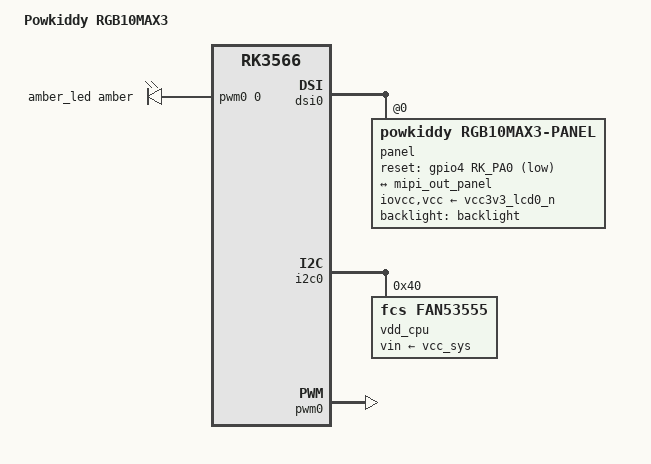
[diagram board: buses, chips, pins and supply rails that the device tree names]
// SPDX-License-Identifier: (GPL-2.0+ OR MIT)

/dts-v1/;

#include <dt-bindings/gpio/gpio.h>
#include <dt-bindings/input/linux-event-codes.h>
#include <dt-bindings/pinctrl/rockchip.h>
#include "rk3566-powkiddy-rk2023.dtsi"

/ {
	model = "Powkiddy RGB10MAX3";
	compatible = "powkiddy,rgb10max3", "rockchip,rk3566";
};

&bluetooth {
	compatible = "realtek,rtl8723ds-bt";
};

&cru {
	assigned-clocks = <&pmucru CLK_RTC_32K>, <&cru PLL_GPLL>,
			  <&pmucru PLL_PPLL>, <&cru PLL_VPLL>;
	assigned-clock-rates = <32768>, <1200000000>,
			       <200000000>, <126400000>;
};

&dsi0 {
	panel: panel@0 {
		compatible = "powkiddy,rgb10max3-panel";
		reg = <0>;
		backlight = <&backlight>;
		iovcc-supply = <&vcc3v3_lcd0_n>;
		pinctrl-0 = <&lcd_rst>;
		pinctrl-names = "default";
		reset-gpios = <&gpio4 RK_PA0 GPIO_ACTIVE_LOW>;
		rotation = <270>;
		vcc-supply = <&vcc3v3_lcd0_n>;

		port {
			mipi_in_panel: endpoint {
				remote-endpoint = <&mipi_out_panel>;
			};
		};
	};
};

&green_led {
	default-state = "on";
	function = LED_FUNCTION_POWER;
};

&i2c0 {
	vdd_cpu: regulator@40 {
		compatible = "fcs,fan53555";
		reg = <0x40>;
		fcs,suspend-voltage-selector = <1>;
		regulator-always-on;
		regulator-boot-on;
		regulator-min-microvolt = <712500>;
		regulator-max-microvolt = <1390000>;
		regulator-name = "vdd_cpu";
		regulator-ramp-delay = <2300>;
		vin-supply = <&vcc_sys>;
		regulator-state-mem {
			regulator-off-in-suspend;
		};
	};
};

&leds {
	amber_led: led-2 {
		color = <LED_COLOR_ID_AMBER>;
		function = LED_FUNCTION_CHARGING;
		max-brightness = <255>;
		pwms = <&pwm0 0 25000 0>;
	};
};

&pwm0 {
	pinctrl-0 = <&pwm0m1_pins>;
	pinctrl-names = "default";
	status = "okay";
};

&red_led {
	default-state = "off";
	function = LED_FUNCTION_STATUS;
};
